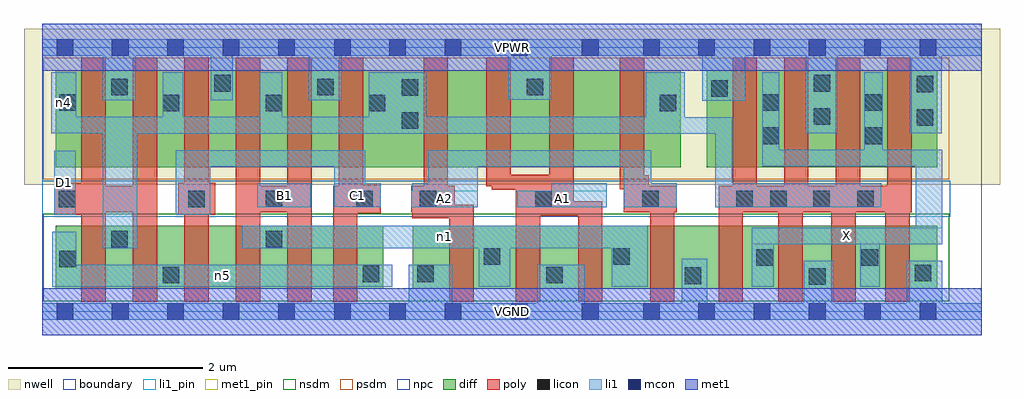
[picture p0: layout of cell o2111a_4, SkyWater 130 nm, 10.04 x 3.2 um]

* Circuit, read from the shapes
.subckt o2111a_4 A1 A2 B1 C1 D1 VGND VPWR X n1 n4 n5
XM1 n4 D1 n5 VSUBS sky130_fd_pr__nfet_01v8 w=0.65 l=0.25 m=2
XM2 n2 C1 n5 VSUBS sky130_fd_pr__nfet_01v8 w=0.65 l=0.25
XM3 n1 B1 n2 VSUBS sky130_fd_pr__nfet_01v8 w=0.65 l=0.25
XM4 n3 B1 n1 VSUBS sky130_fd_pr__nfet_01v8 w=0.65 l=0.25
XM5 n5 C1 n3 VSUBS sky130_fd_pr__nfet_01v8 w=0.65 l=0.25
XM6 n1 A2 VGND VSUBS sky130_fd_pr__nfet_01v8 w=0.65 l=0.25 m=2
XM7 VGND A1 n1 VSUBS sky130_fd_pr__nfet_01v8 w=0.65 l=0.25 m=2
XM8 X n4 VGND VSUBS sky130_fd_pr__nfet_01v8 w=0.65 l=0.25 m=4
XM9 VPWR D1 n4 n6 sky130_fd_pr__pfet_01v8 w=1 l=0.25 m=2
XM10 VPWR C1 n4 n6 sky130_fd_pr__pfet_01v8 w=1 l=0.25 m=2
XM11 n4 B1 VPWR n6 sky130_fd_pr__pfet_01v8 w=1 l=0.25 m=2
XM12 n7 A2 n4 n6 sky130_fd_pr__pfet_01v8 w=1 l=0.25
XM13 VPWR A1 n7 n6 sky130_fd_pr__pfet_01v8 w=1 l=0.25
XM14 n8 A1 VPWR n6 sky130_fd_pr__pfet_01v8 w=1 l=0.25
XM15 n4 A2 n8 n6 sky130_fd_pr__pfet_01v8 w=1 l=0.25
XM16 X n4 VPWR n6 sky130_fd_pr__pfet_01v8 w=1 l=0.25 m=4
.ends

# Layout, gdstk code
import gdstk
lib = gdstk.Library(unit=1e-6, precision=1e-09)
def R(c, l, rs):  # rectangles x0, y0, x1, y1
    for r in rs: c.add(gdstk.rectangle(r[:2], r[2:], *l))
def A(c, l, x, y, w, h, nx, ny, dx, dy):  # array of equal rectangles
    R(c, l, [(x+i*dx, y+j*dy, x+i*dx+w, y+j*dy+h) for i in range(nx) for j in range(ny)])
nwell = (64, 20)
diff = (65, 20)
poly = (66, 20)
licon = (66, 44)
li1_pin = (67, 16)
li1 = (67, 20)
mcon = (67, 44)
met1_pin = (68, 16)
met1 = (68, 20)
nsdm = (93, 44)
psdm = (94, 20)
npc = (95, 20)
boundary = (235, 4)

o2111a_4 = lib.new_cell('o2111a_4')
R(o2111a_4, nwell, [(-0.19,1.305,9.85,2.91), (0,1.305,9.66,2.91)])
R(o2111a_4, diff, [(0.135,0.235,3.505,0.885), (3.81,0.235,9.205,0.885), (0.135,1.485,6.565,2.485), (6.835,1.485,9.205,2.485)])
A(o2111a_4, poly, 0.4, 0.105, 0.25, 2.51, 5, 1, 0.53, 0)
A(o2111a_4, poly, 7.1, 1.025, 0.25, 1.59, 4, 1, 0.53, 0)
R(o2111a_4, poly, [(2.99,0.105,3.24,1.295), (4.185,0.105,4.435,1.1), (4.87,0.105,5.12,1.41), (5.51,0.105,5.76,1.135), (6.25,0.105,6.5,1.295), (6.955,0.105,7.205,1.295), (7.57,0.105,7.82,1.295), (8.115,0.105,8.365,1.295), (8.67,0.105,8.92,1.295), (8.69,0.105,8.92,2.615), (3.805,0.96,4.435,1.1), (3.92,0.96,4.17,2.615), (4.87,0.985,5.465,1.41), (4.87,0.985,5.76,1.135), (5.215,0.985,5.465,2.615), (0.12,0.995,0.65,1.325), (1.395,0.995,1.775,1.325), (3.05,1.015,3.3,2.615), (3.05,1.015,3.48,1.305), (0.12,1.025,1.18,1.295), (1.99,1.025,2.77,1.295), (3.795,1.025,4.24,1.295), (5.98,1.025,6.525,1.295), (6.955,1.025,8.94,1.295), (4.62,1.255,5.465,1.41), (5.94,1.26,6.19,2.615), (5.94,1.26,6.235,1.405), (4.565,1.29,4.815,2.615)])
A(o2111a_4, licon, 1.235, 2.06, 0.17, 0.17, 3, 1, 1.06, 0)
R(o2111a_4, licon, [(7.885,0.275,8.055,0.445), (6.605,0.285,6.775,0.455), (1.235,0.295,1.405,0.465), (5.18,0.295,5.35,0.465), (3.295,0.305,3.465,0.475), (3.855,0.305,4.025,0.475), (8.975,0.315,9.145,0.485), (0.175,0.455,0.345,0.625), (7.345,0.475,7.515,0.645), (8.425,0.475,8.595,0.645), (4.54,0.485,4.71,0.655), (5.87,0.485,6.04,0.655), (0.705,0.665,0.875,0.835), (2.295,0.665,2.465,0.835), (0.17,1.075,0.34,1.245), (1.5,1.075,1.67,1.245), (2.295,1.075,2.465,1.245), (3.23,1.075,3.4,1.245), (3.88,1.075,4.05,1.245), (5.07,1.075,5.24,1.245), (6.17,1.075,6.34,1.245), (7.135,1.075,7.305,1.245), (7.485,1.075,7.655,1.245), (7.93,1.075,8.1,1.245), (8.38,1.075,8.55,1.245), (7.405,1.725,7.575,1.895), (8.465,1.725,8.635,1.895), (3.695,1.88,3.865,2.05), (8.995,1.915,9.165,2.085), (7.935,1.925,8.105,2.095), (6.35,2.06,6.52,2.23), (0.175,2.065,0.345,2.235), (7.405,2.065,7.575,2.235), (8.465,2.065,8.635,2.235), (6.88,2.21,7.05,2.38), (3.695,2.22,3.865,2.39), (0.705,2.225,0.875,2.395), (2.825,2.225,2.995,2.395), (4.98,2.225,5.15,2.395), (8.995,2.255,9.165,2.425), (1.765,2.265,1.935,2.435), (7.935,2.265,8.105,2.435)])
R(o2111a_4, li1_pin, [(7.295,0.695,9.255,0.865), (0.12,0.995,0.34,1.655), (2.21,1.075,2.76,1.32), (3.795,1.075,4.48,1.245), (4.885,1.075,5.805,1.245), (3,1.08,3.48,1.32)])
R(o2111a_4, li1, [(0,-0.085,9.66,0.085), (3.77,-0.085,4.215,0.485), (5.09,-0.085,5.58,0.485), (6.575,-0.085,6.84,0.545), (7.83,-0.085,8.14,0.525), (8.89,-0.085,9.255,0.525), (0.1,0.255,3.6,0.485), (0.1,0.255,0.345,0.825), (4.49,0.255,4.81,0.885), (5.855,0.255,6.225,0.885), (7.295,0.255,7.525,0.865), (8.41,0.255,8.615,0.865), (0.62,0.655,0.975,2.005), (2.055,0.655,6.225,0.885), (7.295,0.695,9.255,0.865), (8.985,0.695,9.255,1.665), (0.12,0.995,0.34,1.655), (1.37,0.995,1.725,1.66), (2.21,1.075,2.76,1.32), (3.045,1.075,3.48,1.32), (3.795,1.075,4.48,1.245), (3.805,1.075,4.48,1.32), (3.97,1.075,4.48,1.66), (4.885,1.075,5.805,1.245), (5.235,1.075,5.805,1.32), (5.98,1.075,6.525,1.32), (5.98,1.075,6.26,1.66), (6.92,1.075,8.63,1.32), (6.92,1.075,7.095,2), (3,1.08,3.48,1.32), (3,1.08,3.32,1.66), (1.37,1.49,3.32,1.66), (3.97,1.49,6.26,1.66), (7.405,1.495,9.255,1.665), (7.405,1.495,7.58,2.465), (8.455,1.495,8.645,2.465), (0.62,1.83,7.095,2), (1.235,1.83,1.45,2.465), (2.23,1.83,2.465,2.465), (3.355,1.83,3.95,2.465), (6.205,1.83,6.605,2.465), (0.09,1.835,0.345,2.465), (0.09,1.835,6.605,2.005), (7.85,1.835,8.18,2.805), (8.92,1.835,9.25,2.805), (6.785,2.17,7.23,2.805), (0.62,2.175,0.96,2.805), (1.73,2.175,1.955,2.805), (2.74,2.175,3.08,2.805), (4.79,2.18,5.24,2.805), (0,2.635,9.66,2.805)])
A(o2111a_4, mcon, 0.145, -0.085, 0.17, 0.17, 5, 2, 0.57, 2.72)
A(o2111a_4, mcon, 6.745, -0.085, 0.17, 0.17, 5, 2, 0.57, 2.72)
R(o2111a_4, mcon, [(3,-0.085,3.17,0.085), (3.565,-0.085,3.735,0.085), (4.14,-0.085,4.31,0.085), (4.82,-0.085,4.99,0.085), (5.55,-0.085,5.72,0.085), (6.18,-0.085,6.35,0.085), (3,2.635,3.17,2.805), (3.565,2.635,3.735,2.805), (4.14,2.635,4.31,2.805), (4.82,2.635,4.99,2.805), (5.55,2.635,5.72,2.805), (6.18,2.635,6.35,2.805)])
R(o2111a_4, met1_pin, [(0,-0.24,9.66,0.24), (0,2.48,9.66,2.96)])
R(o2111a_4, met1, [(0,-0.24,9.66,0.24), (0,2.48,9.66,2.96)])
R(o2111a_4, nsdm, [(0.01,0.11,9.33,1.01)])
R(o2111a_4, psdm, [(0.01,1.36,9.33,2.61)])
R(o2111a_4, npc, [(0,0.975,9.34,1.345)])
R(o2111a_4, boundary, [(0,0,9.66,2.72)])
o2111a_4.add(gdstk.Label('A1', (5.345,1.16), layer=67, texttype=5))
o2111a_4.add(gdstk.Label('A2', (4.137,1.16), layer=67, texttype=5))
o2111a_4.add(gdstk.Label('B1', (2.485,1.197), layer=67, texttype=5))
o2111a_4.add(gdstk.Label('C1', (3.24,1.2), layer=67, texttype=5))
o2111a_4.add(gdstk.Label('D1', (0.23,1.325), layer=67, texttype=5))
o2111a_4.add(gdstk.Label('X', (8.275,0.78), layer=67, texttype=5))
o2111a_4.add(gdstk.Label('n5', (1.85,0.37), layer=67, texttype=5))
o2111a_4.add(gdstk.Label('n1', (4.14,0.77), layer=67, texttype=5))
o2111a_4.add(gdstk.Label('n4', (0.217,2.15), layer=67, texttype=5))
o2111a_4.add(gdstk.Label('VPWR', (4.83,2.72), layer=68, texttype=5))
o2111a_4.add(gdstk.Label('VGND', (4.83,0), layer=68, texttype=5))
o2111a_4.add(gdstk.Label('A1', (5.345,1.16), layer=67, texttype=16))
o2111a_4.add(gdstk.Label('A2', (4.137,1.16), layer=67, texttype=16))
o2111a_4.add(gdstk.Label('B1', (2.485,1.197), layer=67, texttype=16))
o2111a_4.add(gdstk.Label('C1', (3.24,1.2), layer=67, texttype=16))
o2111a_4.add(gdstk.Label('D1', (0.23,1.325), layer=67, texttype=16))
o2111a_4.add(gdstk.Label('X', (8.275,0.78), layer=67, texttype=16))
o2111a_4.add(gdstk.Label('VPWR', (4.83,2.72), layer=68, texttype=16))
o2111a_4.add(gdstk.Label('VGND', (4.83,0), layer=68, texttype=16))

lib.write_gds('o2111a_4.gds')
